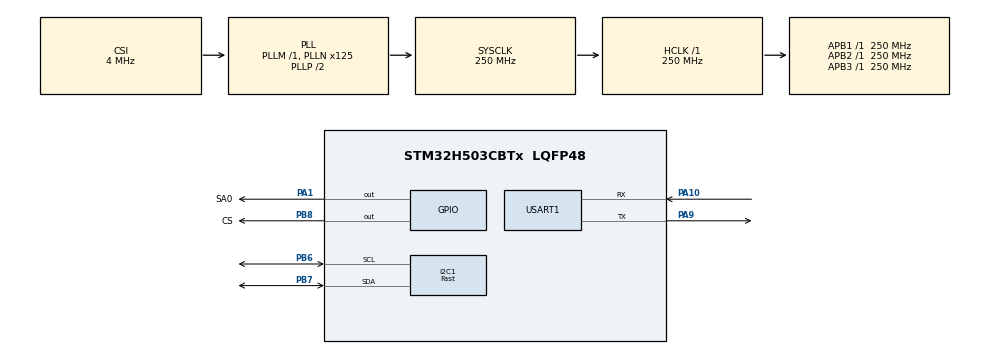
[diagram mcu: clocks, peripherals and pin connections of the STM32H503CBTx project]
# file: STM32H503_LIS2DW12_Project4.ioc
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I2C1.I2C_Speed_Mode=I2C_Fast
I2C1.Timing=0x10C043E5
Mcu.Family=STM32H5
Mcu.Name=STM32H503CBTx
Mcu.Package=LQFP48
NVIC.PriorityGroup=NVIC_PRIORITYGROUP_4
PA1.GPIO_Label=SA0
PA1.Signal=GPIO_Output
PA10.Mode=Asynchronous
PA10.Signal=USART1_RX
PA9.Mode=Asynchronous
PA9.Signal=USART1_TX
PB6.Mode=I2C
PB6.Signal=I2C1_SCL
PB7.Mode=I2C
PB7.Signal=I2C1_SDA
PB8.GPIO_Label=CS
PB8.Signal=GPIO_Output
ProjectManager.HeapSize=0x2000
ProjectManager.StackSize=0x4000
ProjectManager.TargetToolchain=MDK-ARM V5.37
RCC.ADCFreq_Value=250000000
RCC.AHBFreq_Value=250000000
RCC.APB1Freq_Value=250000000
RCC.APB1TimFreq_Value=250000000
RCC.APB2Freq_Value=250000000
RCC.APB2TimFreq_Value=250000000
RCC.APB3Freq_Value=250000000
RCC.CSI_VALUE=4000000
RCC.CortexFreq_Value=250000000
RCC.EPOD_VALUE=4000000
RCC.HCLKFreq_Value=250000000
RCC.HSE_VALUE=25000000
RCC.HSI48_VALUE=48000000
RCC.HSI_VALUE=64000000
RCC.LSE_VALUE=32768
RCC.LSIRC_VALUE=32000
RCC.PLL2FRACN=0
RCC.PLLFRACN=0
RCC.PLLN=125
RCC.SYSCLKFreq_VALUE=250000000
RCC.SYSCLKSource=RCC_SYSCLKSOURCE_PLLCLK
RCC.USBFreq_Value=48000000
RCC.VCOOutputFreq_Value=500000000
USART1.VirtualMode-Asynchronous=VM_ASYNC
VP_BOOTPATH_VS_BOOTPATH.Mode=BP_Activate
VP_CORTEX_M33_NS_VS_Hclk.Mode=Hclk_Mode
VP_ICACHE_VS_ICACHE.Mode=DirectMappedCache
VP_MEMORYMAP_VS_MEMORYMAP.Mode=CurAppReg
VP_PWR_VS_LPOM.Mode=PowerOptimisation
VP_PWR_VS_SECSignals.Mode=Security/Privilege
board=custom

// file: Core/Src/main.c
/* USER CODE BEGIN Header */
/**
  ******************************************************************************
  * @file           : main.c
  * @brief          : Main program body
  ******************************************************************************
  * @attention
  *
  * Copyright (c) 2025 STMicroelectronics.
  * All rights reserved.
  *
  * This software is licensed under terms that can be found in the LICENSE file
  * in the root directory of this software component.
  * If no LICENSE file comes with this software, it is provided AS-IS.
  *
  ******************************************************************************
  */
/* USER CODE END Header */
#include "main.h"
#include "i2c.h"
#include "icache.h"
#include "usart.h"
#include "gpio.h"

/* USER CODE BEGIN Includes */
#include "stdio.h"
#include "lis2dw12_reg.h"

#include <string.h>
/* USER CODE END Includes */

void SystemClock_Config(void);
/* USER CODE BEGIN PFP */
int fputc(int ch, FILE *f){
	HAL_UART_Transmit(&huart1 , (uint8_t *)&ch, 1, 0xFFFF);
	return ch;
}

/* USER CODE END PFP */

/* USER CODE BEGIN 0 */
#define SENSOR_BUS hi2c1

/* Private macro -------------------------------------------------------------*/
#define    BOOT_TIME            20 //ms

/* Private variables ---------------------------------------------------------*/
static int16_t data_raw_acceleration[3];
static float_t acceleration_mg[3];
static uint8_t whoamI, rst;
static uint8_t tx_buffer[1000];

/* Extern variables ----------------------------------------------------------*/

/* Private functions ---------------------------------------------------------*/
/*
 *   WARNING:
 *   Functions declare in this section are defined at the end of this file
 *   and are strictly related to the hardware platform used.
 *
 */
static int32_t platform_write(void *handle, uint8_t reg, const uint8_t *bufp,
                              uint16_t len);
static int32_t platform_read(void *handle, uint8_t reg, uint8_t *bufp,
                             uint16_t len);
static void tx_com( uint8_t *tx_buffer, uint16_t len );
static void platform_delay(uint32_t ms);
static void platform_init(void);

/* USER CODE END 0 */

int main(void)
{

  /* MCU Configuration--------------------------------------------------------*/

  /* Reset of all peripherals, Initializes the Flash interface and the Systick. */
  HAL_Init();

  /* Configure the system clock */
  SystemClock_Config();

  /* Initialize all configured peripherals */
  MX_GPIO_Init();
  MX_I2C1_Init();
  MX_ICACHE_Init();
  MX_USART1_UART_Init();
  /* USER CODE BEGIN 2 */
  HAL_GPIO_WritePin(CS_GPIO_Port, CS_Pin, GPIO_PIN_SET);
  HAL_GPIO_WritePin(SA0_GPIO_Port, SA0_Pin, GPIO_PIN_SET);
	HAL_Delay(100);

	  /* Initialize mems driver interface */
  stmdev_ctx_t dev_ctx;
  dev_ctx.write_reg = platform_write;
  dev_ctx.read_reg = platform_read;
  dev_ctx.mdelay = platform_delay;
  dev_ctx.handle = &SENSOR_BUS;
  /* Initialize platform specific hardware */
//  platform_init();
  /* Wait sensor boot time */
  platform_delay(BOOT_TIME);
  /* Check device ID */
  lis2dw12_device_id_get(&dev_ctx, &whoamI);
	printf("LIS2DW12_ID=0x%x,whoamI=0x%x",LIS2DW12_ID,whoamI);
  if (whoamI != LIS2DW12_ID)
    while (1) {
      /* manage here device not found */
    }

  /* Restore default configuration */
  lis2dw12_reset_set(&dev_ctx, PROPERTY_ENABLE);

  do {
    lis2dw12_reset_get(&dev_ctx, &rst);
  } while (rst);

  /* Enable Block Data Update */
  lis2dw12_block_data_update_set(&dev_ctx, PROPERTY_ENABLE);
  /* Set full scale */
  //lis2dw12_full_scale_set(&dev_ctx, LIS2DW12_8g);
  lis2dw12_full_scale_set(&dev_ctx, LIS2DW12_2g);
  /* Configure filtering chain
   * Accelerometer - filter path / bandwidth
   */
  lis2dw12_filter_path_set(&dev_ctx, LIS2DW12_LPF_ON_OUT);
  lis2dw12_filter_bandwidth_set(&dev_ctx, LIS2DW12_ODR_DIV_4);
  /* Configure power mode */
  lis2dw12_power_mode_set(&dev_ctx, LIS2DW12_HIGH_PERFORMANCE);
  //lis2dw12_power_mode_set(&dev_ctx, LIS2DW12_CONT_LOW_PWR_LOW_NOISE_12bit);
  /* Set Output Data Rate */
  lis2dw12_data_rate_set(&dev_ctx, LIS2DW12_XL_ODR_25Hz);

  /* USER CODE END 2 */

  /* Infinite loop */
  /* USER CODE BEGIN WHILE */
  while (1)
  {
    uint8_t reg;
    /* Read output only if new value is available */
    lis2dw12_flag_data_ready_get(&dev_ctx, &reg);

    if (reg) {
      /* Read acceleration data */
      memset(data_raw_acceleration, 0x00, 3 * sizeof(int16_t));
      lis2dw12_acceleration_raw_get(&dev_ctx, data_raw_acceleration);
      //acceleration_mg[0] = lis2dw12_from_fs8_lp1_to_mg(data_raw_acceleration[0]);
      //acceleration_mg[1] = lis2dw12_from_fs8_lp1_to_mg(data_raw_acceleration[1]);
      //acceleration_mg[2] = lis2dw12_from_fs8_lp1_to_mg(data_raw_acceleration[2]);
      acceleration_mg[0] = lis2dw12_from_fs2_to_mg(
                             data_raw_acceleration[0]);
      acceleration_mg[1] = lis2dw12_from_fs2_to_mg(
                             data_raw_acceleration[1]);
      acceleration_mg[2] = lis2dw12_from_fs2_to_mg(
                             data_raw_acceleration[2]);
      printf("Acceleration [mg]:X=%4.2f\tY=%4.2f\tZ=%4.2f\r\n",acceleration_mg[0], acceleration_mg[1], acceleration_mg[2]);

			float g = 1000;
    // 计算X轴的倾角
    float x_angle = atan(acceleration_mg[0] / sqrt(acceleration_mg[1] * acceleration_mg[1] + acceleration_mg[2] * acceleration_mg[2]));
    // 计算Y轴的倾角
    float y_angle = atan(acceleration_mg[1] / sqrt(acceleration_mg[0] * acceleration_mg[0] + acceleration_mg[2] * acceleration_mg[2]));
    // 计算Z轴的倾角
    float z_angle = atan(acceleration_mg[2] / sqrt(acceleration_mg[0] * acceleration_mg[0] + acceleration_mg[1] * acceleration_mg[1]));

    // 将弧度转换为度数
    x_angle = x_angle * 180.0 / 3.14159265;
    y_angle = y_angle * 180.0 / 3.14159265;
    z_angle = z_angle * 180.0 / 3.14159265;

    // 打印结果
    printf("X轴倾角: %.2f 度\n", x_angle);
    printf("Y轴倾角: %.2f 度\n", y_angle);
    printf("Z轴倾角: %.2f 度\n", z_angle);

    }

HAL_Delay(100);

    /* USER CODE END WHILE */

  }
}

void SystemClock_Config(void)
{
  RCC_OscInitTypeDef RCC_OscInitStruct = {0};
  RCC_ClkInitTypeDef RCC_ClkInitStruct = {0};

  /** Configure the main internal regulator output voltage
  */
  __HAL_PWR_VOLTAGESCALING_CONFIG(PWR_REGULATOR_VOLTAGE_SCALE0);

  while(!__HAL_PWR_GET_FLAG(PWR_FLAG_VOSRDY)) {}

  /** Initializes the RCC Oscillators according to the specified parameters
  * in the RCC_OscInitTypeDef structure.
  */
  RCC_OscInitStruct.OscillatorType = RCC_OSCILLATORTYPE_CSI;
  RCC_OscInitStruct.CSIState = RCC_CSI_ON;
  RCC_OscInitStruct.CSICalibrationValue = RCC_CSICALIBRATION_DEFAULT;
  RCC_OscInitStruct.PLL.PLLState = RCC_PLL_ON;
  RCC_OscInitStruct.PLL.PLLSource = RCC_PLL1_SOURCE_CSI;
  RCC_OscInitStruct.PLL.PLLM = 1;
  RCC_OscInitStruct.PLL.PLLN = 125;
  RCC_OscInitStruct.PLL.PLLP = 2;
  RCC_OscInitStruct.PLL.PLLQ = 2;
  RCC_OscInitStruct.PLL.PLLR = 2;
  RCC_OscInitStruct.PLL.PLLRGE = RCC_PLL1_VCIRANGE_2;
  RCC_OscInitStruct.PLL.PLLVCOSEL = RCC_PLL1_VCORANGE_WIDE;
  RCC_OscInitStruct.PLL.PLLFRACN = 0;
  if (HAL_RCC_OscConfig(&RCC_OscInitStruct) != HAL_OK)
  {
    Error_Handler();
  }

  /** Initializes the CPU, AHB and APB buses clocks
  */
  RCC_ClkInitStruct.ClockType = RCC_CLOCKTYPE_HCLK|RCC_CLOCKTYPE_SYSCLK
                              |RCC_CLOCKTYPE_PCLK1|RCC_CLOCKTYPE_PCLK2
                              |RCC_CLOCKTYPE_PCLK3;
  RCC_ClkInitStruct.SYSCLKSource = RCC_SYSCLKSOURCE_PLLCLK;
  RCC_ClkInitStruct.AHBCLKDivider = RCC_SYSCLK_DIV1;
  RCC_ClkInitStruct.APB1CLKDivider = RCC_HCLK_DIV1;
  RCC_ClkInitStruct.APB2CLKDivider = RCC_HCLK_DIV1;
  RCC_ClkInitStruct.APB3CLKDivider = RCC_HCLK_DIV1;

  if (HAL_RCC_ClockConfig(&RCC_ClkInitStruct, FLASH_LATENCY_5) != HAL_OK)
  {
    Error_Handler();
  }

  /** Configure the programming delay
  */
  __HAL_FLASH_SET_PROGRAM_DELAY(FLASH_PROGRAMMING_DELAY_2);
}

/* USER CODE BEGIN 4 */
/*
 * @brief  Write generic device register (platform dependent)
 *
 * @param  handle    customizable argument. In this examples is used in
 *                   order to select the correct sensor bus handler.
 * @param  reg       register to write
 * @param  bufp      pointer to data to write in register reg
 * @param  len       number of consecutive register to write
 *
 */
static int32_t platform_write(void *handle, uint8_t reg, const uint8_t *bufp,
                              uint16_t len)
{

  HAL_I2C_Mem_Write(handle, LIS2DW12_I2C_ADD_H, reg,
                    I2C_MEMADD_SIZE_8BIT, (uint8_t*) bufp, len, 1000);

  return 0;
}

/*
 * @brief  Read generic device register (platform dependent)
 *
 * @param  handle    customizable argument. In this examples is used in
 *                   order to select the correct sensor bus handler.
 * @param  reg       register to read
 * @param  bufp      pointer to buffer that store the data read
 * @param  len       number of consecutive register to read
 *
 */
static int32_t platform_read(void *handle, uint8_t reg, uint8_t *bufp,
                             uint16_t len)
{
  HAL_I2C_Mem_Read(handle, LIS2DW12_I2C_ADD_H, reg,
                   I2C_MEMADD_SIZE_8BIT, bufp, len, 1000);
  return 0;
}

/*
 * @brief  platform specific delay (platform dependent)
 *
 * @param  ms        delay in ms
 *
 */
static void platform_delay(uint32_t ms)
{
  HAL_Delay(ms);
}
/* USER CODE END 4 */

void Error_Handler(void)
{
  __disable_irq();
  while (1)
  {
  }
}
